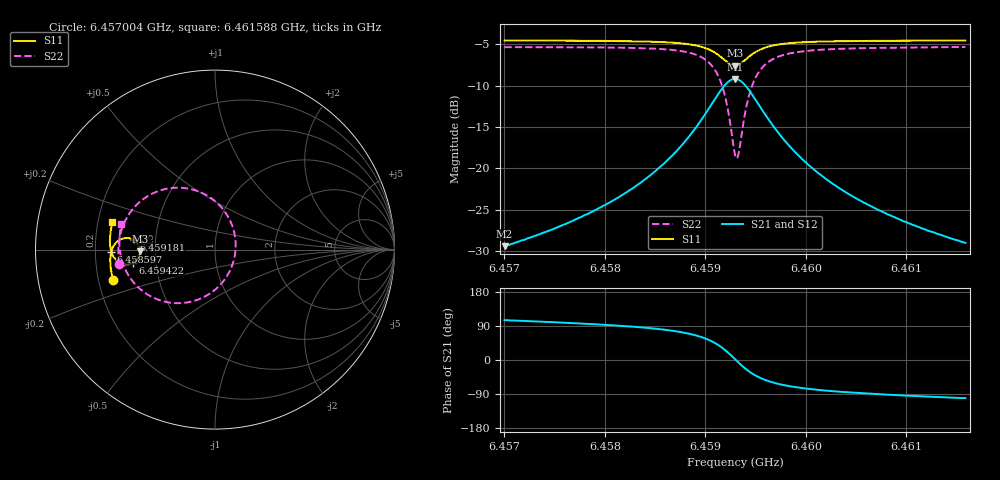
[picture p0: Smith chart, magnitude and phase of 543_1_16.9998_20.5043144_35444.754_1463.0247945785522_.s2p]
#  HZ  S  RI  R  50.00
! Rohde & Schwarz Vector Network Analyzer
! Rohde-Schwarz,ZNB20-2Port,1311601062101988,3.16
! Created: UTC 3/20/2024, 11:16:23 PM
! freq[Hz]  re:S11  im:S11  re:S21  im:S21  re:S12  im:S12  re:S22  im:S22
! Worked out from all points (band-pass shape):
!   401 points, 6.457004 GHz to 6.461588 GHz, reference 50 ohm
!   highest |S21| = -9.20 dB at 6.459296 GHz (marker M1); lowest = -29.4 dB at 6.457004 GHz (marker M2)
!   |S21| within 3 dB of the highest: 6.459067 GHz to 6.459526 GHz (459 kHz wide, 0.00711 % of centre)
!   lowest |S11| = -7.6 dB at 6.459296 GHz (marker M3), VSWR 2.43, Z = 20.5 - j0.458 ohm
!   |S11| at or under -10 dB: nowhere
!   |S22| runs from -18.8 to -5.3 dB; largest |S21 - S12| = 0.014
!   S11 on the Smith chart (normalised r, x): 6.457004 GHz: 0.26, -0.14; 6.458597 GHz: 0.27, -0.01; 6.459181 GHz: 0.37, +0.05; 6.459422 GHz: 0.37, -0.07; 6.461588 GHz: 0.26, +0.12
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6.4570038e9  -0.5673 -0.1702  -0.00883 0.0326  -0.00708 0.0326  -0.5332 -0.0825
6.4577716e9  -0.581 -0.1029  -0.00548 0.0506  -0.00288 0.05  -0.5383 0.00769
6.4581956e9  -0.5839 -0.0603  0.000566 0.0702  0.00384 0.0689  -0.5297 0.0752
6.4585394e9  -0.5798 -0.0191  0.0146 0.0991  0.0185 0.0964  -0.5039 0.153
6.4585967e9  -0.578 -0.0113  0.019 0.106  0.023 0.1029  -0.4957 0.1697
6.4588029e9  -0.5649 0.0207  0.0467 0.1384  0.0507 0.1335  -0.4435 0.2425
6.4589519e9  -0.542 0.0471  0.0923 0.1689  0.0954 0.1622  -0.3595 0.3067
6.4590894e9  -0.4982 0.0644  0.1796 0.1853  0.1806 0.1778  -0.1995 0.3451
6.4591811e9  -0.4535 0.0542  0.2699 0.1537  0.27 0.1478  -0.0325 0.294
6.4592499e9  -0.4245 0.0219  0.3304 0.0814  0.3323 0.0762  0.0831 0.1636
6.4592957e9  -0.4175 -0.0092  0.3465 0.0134  0.3503 0.00641  0.1152 0.0362
6.4593072e9  -0.4181 -0.0173  0.3464 -0.00444  0.3502 -0.0121  0.1148 0.00223
6.4593301e9  -0.4215 -0.033  0.3407 -0.0393  0.3446 -0.0483  0.1035 -0.0638
6.4593759e9  -0.4372 -0.0591  0.312 -0.0993  0.3142 -0.1113  0.0454 -0.1774
6.4594218e9  -0.4592 -0.0753  0.2697 -0.1404  0.269 -0.1538  -0.0404 -0.2525
6.4595134e9  -0.5027 -0.0822  0.1845 -0.1717  0.1784 -0.1833  -0.2101 -0.2985
6.4596624e9  -0.5467 -0.0617  0.0964 -0.1575  0.0877 -0.1638  -0.3787 -0.2485
6.4598228e9  -0.5684 -0.034  0.0512 -0.1293  0.0436 -0.1322  -0.4593 -0.1758
6.4600635e9  -0.581 0.00156  0.0222 -0.0978  0.0164 -0.0982  -0.5073 -0.0928
6.4603958e9  -0.5855 0.0412  0.00652 -0.0713  0.00231 -0.0709  -0.5283 -0.0156
6.4608313e9  -0.5835 0.0852  -0.00139 -0.052  -0.0044 -0.0513  -0.5327 0.0549
6.4615876e9  -0.5712 0.1522  -0.00645 -0.0347  -0.0083 -0.0337  -0.5212 0.1444
